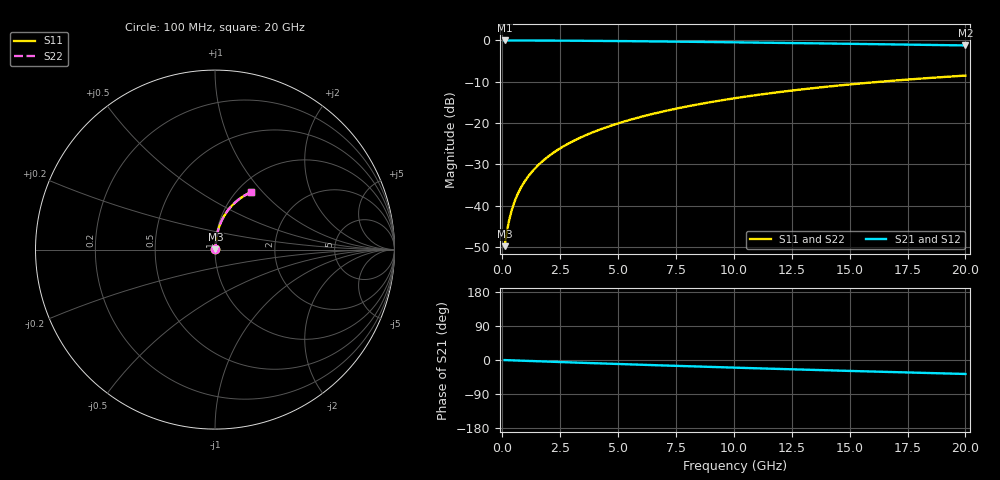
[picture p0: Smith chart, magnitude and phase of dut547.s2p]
! Touchstone file exported from HFSS 2024.1.0
!  File:  C:/UserFiles/LocalFiles/RDL_TSV_Batchsim/temp_RDL_top_547_1779680824.aedt
!  Generated:  11:48:58 AM May 25, 2026
!  Design:  RDL_top
!  Project:  temp_RDL_top_547_1779680824
!  Setup:  Setup1
!  Solution:  Sweep
! Variables:
!  dtsv = 10.80580581um
!  hbump = 3um
!  htsv = 66.45um
!  ldown = 100um
!  lrdl = 507.61um
!  p = 40
!  p1 = 47.42um
!  rhole = 1um
!  t = 450um
!  tdown = 3.915915916um
!  trdl = 4.59um
!  wdown = 15.38538539um
!  wrdl = 16.67um
# GHz S MA R 50.000000
! Terminal data exported
! Port[1] = Box2_T1
! Port[2] = Box2_T2
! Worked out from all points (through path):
!   200 points, 100 MHz to 20 GHz, reference 50 ohm
!   highest |S21| = -0.02 dB at 100 MHz (marker M1); lowest = -1.2 dB at 20 GHz (marker M2)
!   group delay of S21, straight-line fit = 5.09 ps
!   lowest |S11| = -49.8 dB at 100 MHz (marker M3), VSWR 1.01, Z = 50.2 + j0.211 ohm
!   |S11| at or under -10 dB: start of sweep to 16.34 GHz
!   |S22| runs from -49.8 to -8.5 dB; largest |S21 - S12| = 3.5e-15
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0.1  0.003239 40.3  0.9975 -0.2  0.9975 -0.2  0.003239 40.3
! Gamma 0 0 0 0
! Port Impedance 50 0 50 0
0.2  0.004888 58.7  0.9974 -0.4  0.9974 -0.4  0.004888 58.7
0.3  0.006764 67.0  0.9973 -0.7  0.9973 -0.7  0.006763 67.0
0.4  0.008695 71.4  0.9972 -0.9  0.9972 -0.9  0.008694 71.4
0.5  0.01063 74.2  0.997 -1.1  0.997 -1.1  0.01063 74.2
0.6  0.01257 76.0  0.9969 -1.3  0.9969 -1.3  0.01257 76.0
0.8  0.01643 78.5  0.9966 -1.8  0.9966 -1.8  0.01643 78.5
1.1  0.02222 80.5  0.9961 -2.4  0.9961 -2.4  0.02221 80.5
1.5  0.02996 81.9  0.9954 -3.3  0.9954 -3.3  0.02995 81.9
1.8  0.03579 82.5  0.9946 -3.9  0.9946 -3.9  0.03579 82.5
2.1  0.04164 82.8  0.9938 -4.5  0.9938 -4.5  0.04164 82.8
2.7  0.0534 83.0  0.9918 -5.8  0.9918 -5.8  0.0534 83.0
3.5  0.06918 82.8  0.9885 -7.5  0.9885 -7.5  0.06918 82.8
4.2  0.08306 82.2  0.9852 -8.9  0.9852 -8.9  0.08307 82.3
5  0.09901 81.5  0.9809 -10.6  0.9809 -10.6  0.09902 81.5
5.9  0.117 80.4  0.9756 -12.4  0.9756 -12.4  0.117 80.4
6.8  0.1351 79.2  0.9699 -14.1  0.9699 -14.1  0.1351 79.3
8.4  0.1671 76.9  0.9591 -17.2  0.9591 -17.2  0.1672 77.0
10.1  0.2008 74.3  0.9469 -20.3  0.9469 -20.3  0.2009 74.3
13.4  0.2639 68.9  0.9218 -26.1  0.9218 -26.1  0.264 68.9
16.7  0.3223 63.4  0.8954 -31.6  0.8954 -31.6  0.3224 63.4
20  0.375 58.1  0.8686 -36.9  0.8686 -36.9  0.3751 58.1
